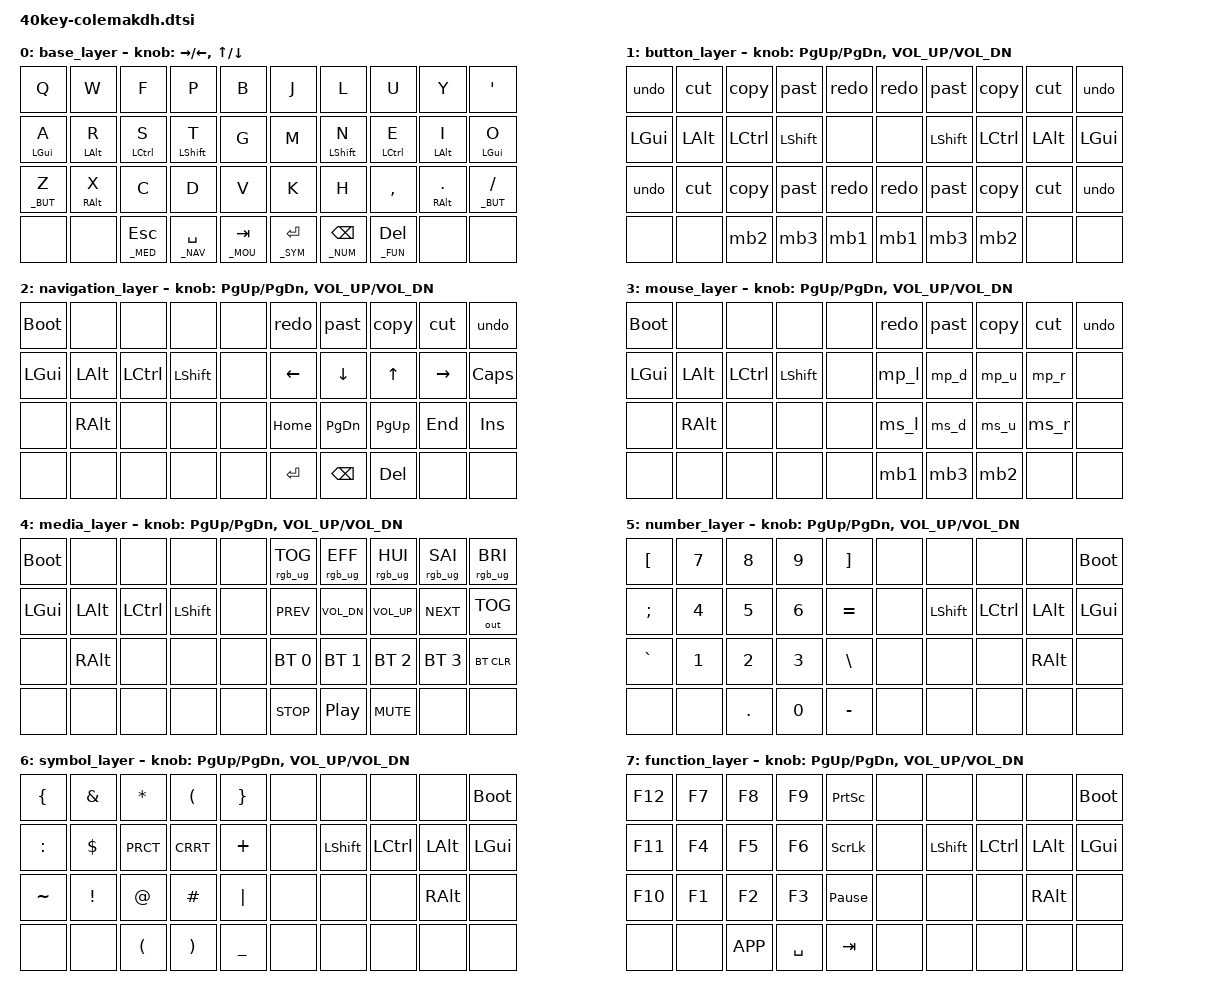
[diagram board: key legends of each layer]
#include <behaviors.dtsi>
#include <dt-bindings/zmk/keys.h>
#include <dt-bindings/zmk/bt.h>
#include <dt-bindings/zmk/rgb.h>
#include <dt-bindings/zmk/outputs.h>
#include <dt-bindings/zmk/mouse.h>

#include "constants.dtsi"
#include "behaviors.dtsi"

// mod-tap settings
&mt {
    flavor = "tap-preferred";
    tapping_term_ms = <200>;
};

// keymap definition
/ {

    keymap {
        compatible = "zmk,keymap";

        base_layer {
            bindings = <
                &kp Q      &kp W      &kp F        &kp P        &kp B        &kp J        &kp L         &kp U        &kp Y        &kp SQT
                &hm LGUI A &hm LALT R &hm LCTRL S  &hm LSHFT T  &kp G        &kp M        &hm LSHFT N   &hm LCTRL E  &hm LALT I   &hm LGUI O
                &lt _BUT Z &hm RALT X &kp C        &kp D        &kp V        &kp K        &kp H         &kp COMMA    &hm RALT DOT &lt _BUT SLASH
                &none      &none      &lt _MED ESC &lt _NAV SPC &lt _MOU TAB &lt _SYM RET &lt _NUM BSPC &lt _FUN DEL &none        &none
                >;
            sensor-bindings = <&inc_dec_kp RIGHT LEFT &inc_dec_kp UP DOWN>;
        };
        button_layer {
            bindings = <
                &undo    &cut     &copy     &past     &redo &redo &past     &copy     &cut     &undo
                &kp LGUI &kp LALT &kp LCTRL &kp LSHFT &none &none &kp LSHFT &kp LCTRL &kp LALT &kp LGUI
                &undo    &cut     &copy     &past     &redo &redo &past     &copy     &cut     &undo
                &none    &none    &mb2      &mb3      &mb1  &mb1  &mb3      &mb2      &none    &none
                >;
            sensor-bindings = <&inc_dec_kp PG_UP PG_DN &inc_dec_kp C_VOL_UP C_VOL_DN>;
        };
        navigation_layer {
            bindings = <
                &bootloader &none    &none     &none     &none &redo    &past     &copy     &cut      &undo
                &kp LGUI    &kp LALT &kp LCTRL &kp LSHFT &none &kp LEFT &kp DOWN  &kp UP    &kp RIGHT &kp CAPS
                &none       &kp RALT &none     &none     &none &kp HOME &kp PG_DN &kp PG_UP &kp END   &kp INS
                &none       &none    &none     &none     &none &kp RET  &kp BSPC  &kp DEL   &none     &none
                >;
            sensor-bindings = <&inc_dec_kp PG_UP PG_DN &inc_dec_kp C_VOL_UP C_VOL_DN>;
        };
        mouse_layer {
            bindings = <
                &bootloader &none    &none     &none     &none &redo &past &copy &cut  &undo
                &kp LGUI    &kp LALT &kp LCTRL &kp LSHFT &none &mp_l &mp_d &mp_u &mp_r &none
                &none       &kp RALT &none     &none     &none &ms_l &ms_d &ms_u &ms_r &none
                &none       &none    &none     &none     &none &mb1  &mb3  &mb2  &none &none
                >;
            sensor-bindings = <&inc_dec_kp PG_UP PG_DN &inc_dec_kp C_VOL_UP C_VOL_DN>;
        };
        media_layer {
            bindings = <
                &bootloader &none    &none     &none     &none &rgb_ug RGB_TOG &rgb_ug RGB_EFF &rgb_ug RGB_HUI &rgb_ug RGB_SAI &rgb_ug RGB_BRI
                &kp LGUI    &kp LALT &kp LCTRL &kp LSHFT &none &kp C_PREV      &kp C_VOL_DN    &kp C_VOL_UP    &kp C_NEXT      &out OUT_TOG
                &none       &kp RALT &none     &none     &none &bt BT_SEL 0    &bt BT_SEL 1    &bt BT_SEL 2    &bt BT_SEL 3    &bt BT_CLR
                &none       &none    &none     &none     &none &kp C_STOP      &kp C_PP        &kp C_MUTE      &none           &none
                >;
            sensor-bindings = <&inc_dec_kp PG_UP PG_DN &inc_dec_kp C_VOL_UP C_VOL_DN>;
        };
        number_layer {
            bindings = <
                &kp LBKT  &kp NUM_7 &kp NUM_8 &kp NUM_9 &kp RBKT  &none &none     &none     &none    &bootloader
                &kp SEMI  &kp NUM_4 &kp NUM_5 &kp NUM_6 &kp EQL   &none &kp LSHFT &kp LCTRL &kp LALT &kp LGUI
                &kp GRAVE &kp NUM_1 &kp NUM_2 &kp NUM_3 &kp BSLH  &none &none     &none     &kp RALT &none
                &none     &none     &kp DOT   &kp NUM_0 &kp MINUS &none &none     &none     &none    &none
                >;
            sensor-bindings = <&inc_dec_kp PG_UP PG_DN &inc_dec_kp C_VOL_UP C_VOL_DN>;
        };
        symbol_layer {
            bindings = <
                &kp LBRC  &kp AMPS &kp ASTRK &kp LPAR &kp RBRC  &none &none     &none     &none    &bootloader
                &kp COLON &kp DLLR &kp PRCT  &kp CRRT &kp PLUS  &none &kp LSHFT &kp LCTRL &kp LALT &kp LGUI
                &kp TILDE &kp EXCL &kp AT    &kp HASH &kp PIPE  &none &none     &none     &kp RALT &none
                &none     &none    &kp LPAR  &kp RPAR &kp UNDER &none &none     &none     &none    &none
                >;
            sensor-bindings = <&inc_dec_kp PG_UP PG_DN &inc_dec_kp C_VOL_UP C_VOL_DN>;
        };
        function_layer {
            bindings = <
                &kp F12 &kp F7 &kp F8    &kp F9  &kp PSCRN       &none &none     &none     &none    &bootloader
                &kp F11 &kp F4 &kp F5    &kp F6  &kp SLCK        &none &kp LSHFT &kp LCTRL &kp LALT &kp LGUI
                &kp F10 &kp F1 &kp F2    &kp F3  &kp PAUSE_BREAK &none &none     &none     &kp RALT &none
                &none   &none  &kp K_APP &kp SPC &kp TAB         &none &none     &none     &none    &none
                >;
            sensor-bindings = <&inc_dec_kp PG_UP PG_DN &inc_dec_kp C_VOL_UP C_VOL_DN>;
        };
    };
};
